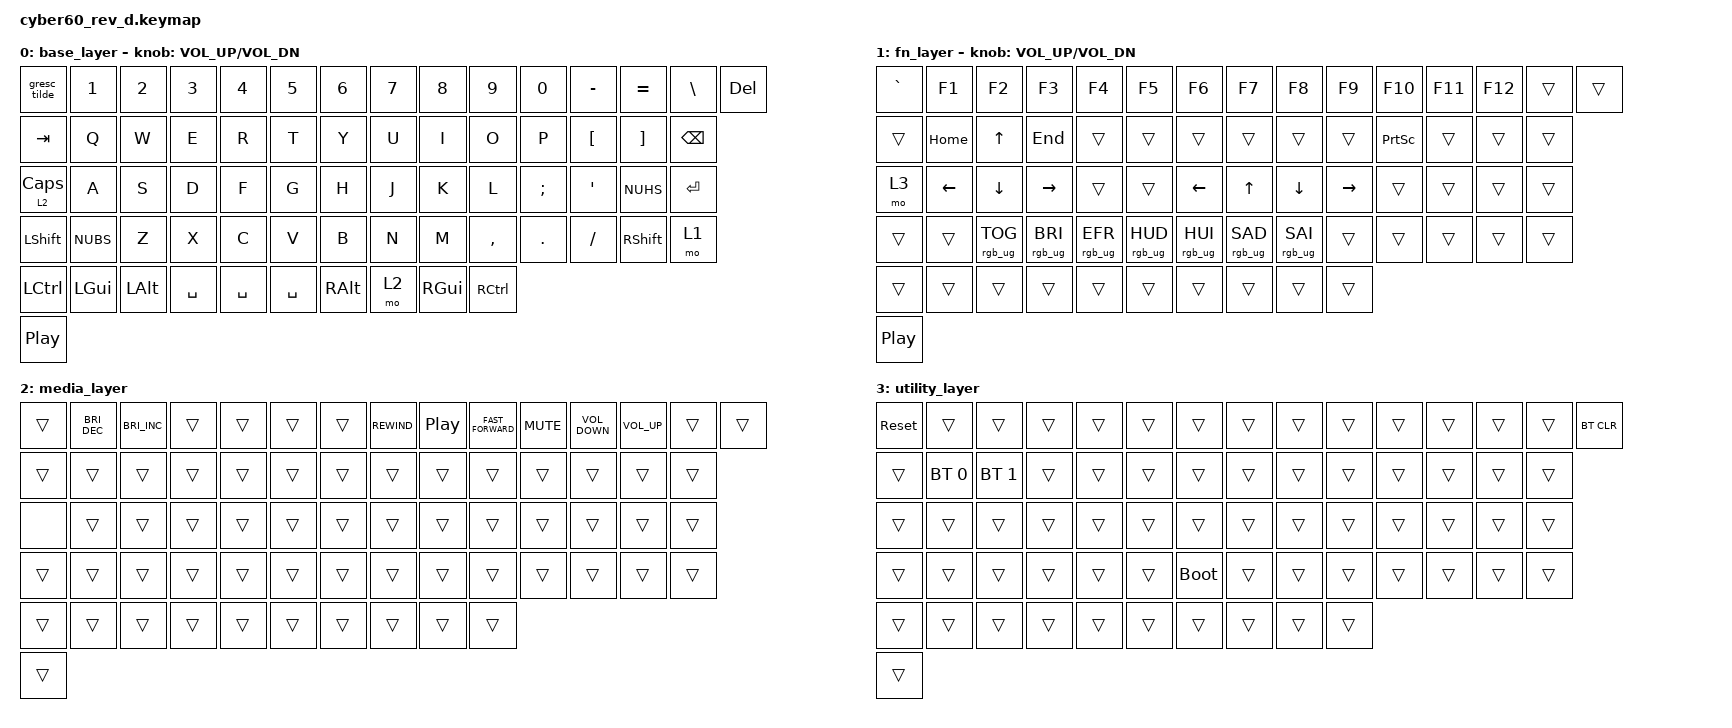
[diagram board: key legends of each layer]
#include <behaviors.dtsi>
#include <dt-bindings/zmk/bt.h>
#include <dt-bindings/zmk/keys.h>
#include <dt-bindings/zmk/rgb.h>

#define FN1 1

/ {
    behaviors {
        gresc_tilde: gresc_tilde {
            compatible = "zmk,behavior-mod-morph";
            label = "GRESC_TILDE";
            bindings = <&kp ESCAPE>, <&kp TILDE>;

            #binding-cells = <0>;
            mods = <(MOD_LSFT|MOD_LGUI|MOD_RSFT|MOD_RGUI)>;
        };
    };

    keymap {
        compatible = "zmk,keymap";

        base_layer {
            // Base layer
            // ------------------------------------------------------------------------------------------
            // | ESC |  1  |  2  |  3  |  4  |  5  |  6  |  7  |  8  |  9  |  0  |  -  |  =  |   BKSP   |
            // |  TAB |  Q  |  W  |  E  |  R  |  T  |  Y  |  U  |  I  |  O  |  P  |  [  |  ]  |   "|"   |
            // | CAPS  |  A  |  S  |  D  |  F  |  G  |  H  |  J  |  K  |  L  |  ;  |  '  |NUHS| ENTER   |
            // | SHIFT |NUBS| Z |  X  |  C  |  V  |  B  |  N  |  M  |  ,  |  .  |  /  |    Shift   | FN |
            // |  LCTL  |  LWIN  |  LALT  | SPACE  | SPACE |    SPACE   |  RALT | FN  |   RWIN  | RCTRL |
            // | Rotary | (<-- Rotary switch) ----------------------------------------------------------- 

            bindings = <
&gresc_tilde    &kp N1    &kp N2    &kp N3     &kp N4     &kp N5     &kp N6    &kp N7  &kp N8    &kp N9     &kp N0    &kp MINUS  &kp EQUAL        &kp BSLH       &kp DELETE
&kp TAB         &kp Q     &kp W     &kp E      &kp R      &kp T      &kp Y     &kp U   &kp I     &kp O      &kp P     &kp LBKT   &kp RBKT         &kp BACKSPACE
&lt 2 CAPSLOCK  &kp A     &kp S     &kp D      &kp F      &kp G      &kp H     &kp J   &kp K     &kp L      &kp SEMI  &kp SQT    &kp NUHS         &kp RET
&kp LSHIFT      &kp NUBS  &kp Z     &kp X      &kp C      &kp V      &kp B     &kp N   &kp M     &kp COMMA  &kp DOT   &kp FSLH   &kp RIGHT_SHIFT  &mo 1
&kp LCTRL       &kp LGUI  &kp LALT  &kp SPACE  &kp SPACE  &kp SPACE  &kp RALT  &mo 2   &kp RGUI  &kp RCTRL
&kp C_PP
            >;

            sensor-bindings = <&inc_dec_kp C_VOL_UP C_VOL_DN>;
        };

        fn_layer {
            // Function layer
            // ------------------------------------------------------------------------------------------
            // | RESET | F1 |  F2 |  F3 |  F4 |  F5 |  F6 |  F7 |  F8 |  F9 | F10 | F11 | F12 |TRNS | DEL |
            // |BT_CLR |TRNS | UP  | BT0 | BT1 | BT2 | BT3 | BT4 | TRNS | TRNS | TRNS | TRNS | TRNS | TRNS|
            // | BOOTL  |LEFT |DOWN |RIGHT|TRNS |TRNS |TRNS | TRNS| TRNS |TRNS| TRNS |TRNS | TRNS | TRNS  |
            // | TRNS |TRNS|TRNS|TRNS|TRNS | TRNS| TRNS | TRNS |  TRNS| TRNS | TRNS| TRNS |   TRNS   |TRNS|
            // |  TRNS | TRNS | TRNS |      TRNS      | TRNS |     TRNS     |  TRNS |  TRNS | TRNS | TRNS |
            // | Rotary | (<-- Rotary switch) ----------------------------------------------------------- 

            bindings = <
&kp GRAVE  &kp F1    &kp F2           &kp F3           &kp F4           &kp F5           &kp F6           &kp F7           &kp F8           &kp F9     &kp F10          &kp F11  &kp F12  &trans  &trans
&trans     &kp HOME  &kp UP           &kp END          &trans           &trans           &trans           &trans           &trans           &trans     &kp PRINTSCREEN  &trans   &trans   &trans
&mo 3      &kp LEFT  &kp DOWN         &kp RIGHT        &trans           &trans           &kp LEFT         &kp UP           &kp DOWN         &kp RIGHT  &trans           &trans   &trans   &trans
&trans     &trans    &rgb_ug RGB_TOG  &rgb_ug RGB_BRI  &rgb_ug RGB_EFR  &rgb_ug RGB_HUD  &rgb_ug RGB_HUI  &rgb_ug RGB_SAD  &rgb_ug RGB_SAI  &trans     &trans           &trans   &trans   &trans
&trans     &trans    &trans           &trans           &trans           &trans           &trans           &trans           &trans           &trans
&kp C_PP
            >;

            sensor-bindings = <&inc_dec_kp C_VOL_UP C_VOL_DN>;
        };

        media_layer {
            bindings = <
&trans  &kp C_BRIGHTNESS_DEC  &kp C_BRIGHTNESS_INC  &trans  &trans  &trans  &trans  &kp C_REWIND  &kp C_PLAY_PAUSE  &kp C_FAST_FORWARD  &kp C_MUTE  &kp C_VOLUME_DOWN  &kp C_VOLUME_UP  &trans  &trans
&trans  &trans                &trans                &trans  &trans  &trans  &trans  &trans        &trans            &trans              &trans      &trans             &trans           &trans
&none   &trans                &trans                &trans  &trans  &trans  &trans  &trans        &trans            &trans              &trans      &trans             &trans           &trans
&trans  &trans                &trans                &trans  &trans  &trans  &trans  &trans        &trans            &trans              &trans      &trans             &trans           &trans
&trans  &trans                &trans                &trans  &trans  &trans  &trans  &trans        &trans            &trans
&trans
            >;
        };

        utility_layer {
            bindings = <
&sys_reset  &trans        &trans        &trans  &trans  &trans  &trans       &trans  &trans  &trans  &trans  &trans  &trans  &trans  &bt BT_CLR
&trans      &bt BT_SEL 0  &bt BT_SEL 1  &trans  &trans  &trans  &trans       &trans  &trans  &trans  &trans  &trans  &trans  &trans
&trans      &trans        &trans        &trans  &trans  &trans  &trans       &trans  &trans  &trans  &trans  &trans  &trans  &trans
&trans      &trans        &trans        &trans  &trans  &trans  &bootloader  &trans  &trans  &trans  &trans  &trans  &trans  &trans
&trans      &trans        &trans        &trans  &trans  &trans  &trans       &trans  &trans  &trans
&trans
            >;
        };
    };
};
